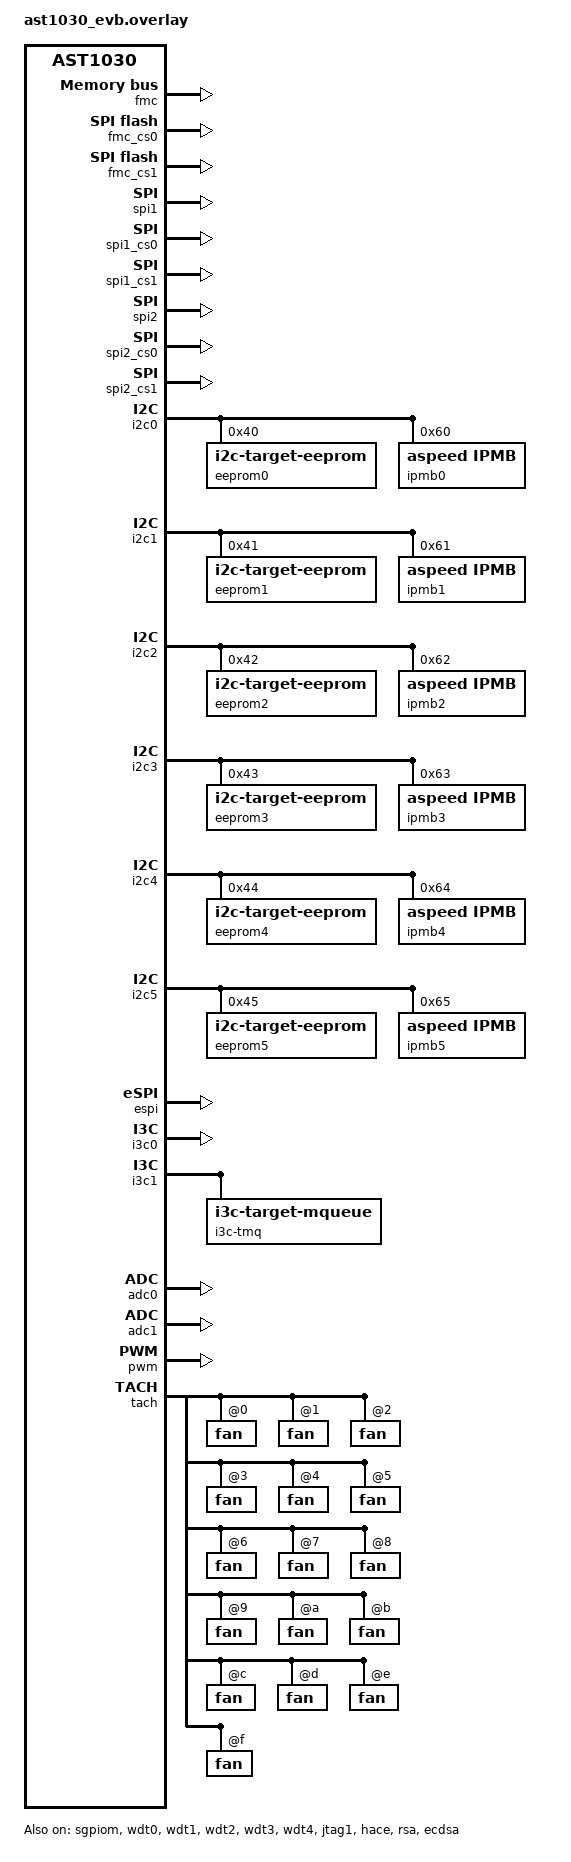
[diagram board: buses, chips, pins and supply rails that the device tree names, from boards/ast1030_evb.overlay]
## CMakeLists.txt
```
# SPDX-License-Identifier: Apache-2.0

cmake_minimum_required(VERSION 3.13.1)

find_package(Zephyr HINTS $ENV{ZEPHYR_BASE})
project(ast1030_evb_full_sample)

FILE(GLOB app_sources src/*.c)

target_sources(app PRIVATE ${app_sources})
```

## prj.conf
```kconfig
CONFIG_I2C=y
CONFIG_THREAD_RUNTIME_STATS=y
CONFIG_FLASH=y
CONFIG_FLASH_SHELL=y
CONFIG_HEAP_MEM_POOL_SIZE=16384
CONFIG_HWINFO=y
CONFIG_HWINFO_SHELL=y
CONFIG_COMMON_LIBC_MALLOC_ARENA_SIZE=16384
CONFIG_POSIX_CLOCK=y
CONFIG_STACK_SENTINEL=y
CONFIG_LOG=y
CONFIG_SHELL=y
CONFIG_SHELL_BACKEND_SERIAL_INIT_PRIORITY=99
CONFIG_SHELL_STACK_SIZE=4096
CONFIG_USB_DEVICE_STACK=y
CONFIG_USB_DEVICE_VID=0x2245
CONFIG_USB_DEVICE_PID=0x1030
CONFIG_USB_DEVICE_DFU_PID=0x1031
CONFIG_USB_COMPOSITE_DEVICE=y
CONFIG_USB_DEVICE_PRODUCT="Zephyr DFU sample"
CONFIG_USB_DFU_CLASS=y
CONFIG_FLASH=y
CONFIG_FLASH_MAP=y
CONFIG_STREAM_FLASH=y
CONFIG_IMG_MANAGER=y
CONFIG_FLASH_PAGE_LAYOUT=y
CONFIG_IMG_BLOCK_BUF_SIZE=4096
CONFIG_USB_REQUEST_BUFFER_SIZE=4096
CONFIG_USB_DFU_DEFAULT_POLLTIMEOUT=40
CONFIG_I3C=y
CONFIG_I3C_TARGET=y
CONFIG_I3C_IBI_WORKQUEUE=y
CONFIG_CRYPTO_SHELL=y
CONFIG_HASH_SHELL=y
CONFIG_RSA_SHELL=y
CONFIG_ESPI=y
CONFIG_ESPI_ASPEED=y
```

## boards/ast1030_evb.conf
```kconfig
CONFIG_SPI=y
CONFIG_WATCHDOG=y
CONFIG_DYNAMIC_INTERRUPTS=y
CONFIG_FLASH=y
CONFIG_ADC=y
CONFIG_ADC_ASPEED=y
CONFIG_PWM=y
CONFIG_PWM_ASPEED=y
CONFIG_SENSOR=y
CONFIG_TACH_ASPEED=y
CONFIG_GPIO_ASPEED_SGPIOM=y
CONFIG_JTAG=y
CONFIG_JTAG_ASPEED=y
CONFIG_JTAG_SHELL=y
CONFIG_PECI=y
CONFIG_PECI_ASPEED=y
# CONFIG_SPI_NOR is not set
CONFIG_I2C=y
CONFIG_I2C_ASPEED=y
CONFIG_ABR_FLOW_CTRL_ASPEED=y
CONFIG_SPI_ASPEED=y
CONFIG_REBOOT=y
CONFIG_OTP_ASPEED=y
CONFIG_SHELL_CMDS_OTP=y
```

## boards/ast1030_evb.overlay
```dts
&fmc {
	status = "okay";
};

&fmc_cs0 {
	status = "okay";
	spi-max-buswidth = <4>;
	spi-max-frequency = <50000000>;

	partitions {
		compatible = "fixed-partitions";
		#address-cells = <1>;
		#size-cells = <1>;
		slot0_partition: partition@0 {
			label = "image-0";
			reg = <0x0 0x100000>;
		};
		slot1_partition: partition@1 {
		       label = "image-1";
		       reg = <0x0 0x100000>;
	       };
	};
};

&fmc_cs1 {
	status = "okay";
	spi-max-buswidth = <4>;
	spi-max-frequency = <50000000>;
};

&spi1 {
	status = "okay";
};

&spi1_cs0 {
	status = "okay";
	spi-max-buswidth = <4>;
	spi-max-frequency = <50000000>;
};

&spi1_cs1 {
	status = "okay";
	spi-max-buswidth = <4>;
	spi-max-frequency = <50000000>;
};

&spi2 {
	status = "okay";
};

&spi2_cs0 {
	status = "okay";
	spi-max-buswidth = <4>;
	spi-max-frequency = <50000000>;
};

&spi2_cs1 {
	status = "okay";
	spi-max-buswidth = <4>;
	spi-max-frequency = <50000000>;
};

&i2c0 {
	status = "okay";

	eeprom0: eeprom@40 {
		compatible = "zephyr,i2c-target-eeprom";
		reg = <0x40>;
		size = <256>;
	};

	ipmb0: ipmb@60 {
		compatible = "aspeed,ipmb";
		reg = <0x60>;
		size = <5>;
	};
};

&i2c1 {
	status = "okay";

	eeprom1: eeprom@41 {
		compatible = "zephyr,i2c-target-eeprom";
		reg = <0x41>;
		size = <256>;
	};

	ipmb1: ipmb@61 {
		compatible = "aspeed,ipmb";
		reg = <0x61>;
		size = <5>;
	};
};

&i2c2 {
	status = "okay";

	eeprom2: eeprom@42 {
		compatible = "zephyr,i2c-target-eeprom";
		reg = <0x42>;
		size = <256>;
	};

	ipmb2: ipmb@62 {
		compatible = "aspeed,ipmb";
		reg = <0x62>;
		size = <5>;
	};
};

&i2c3 {
	status = "okay";

	eeprom3: eeprom@43 {
		compatible = "zephyr,i2c-target-eeprom";
		reg = <0x43>;
		size = <256>;
	};

	ipmb3: ipmb@63 {
		compatible = "aspeed,ipmb";
		reg = <0x63>;
		size = <5>;
	};
};

&i2c4 {
	status = "okay";

	eeprom4: eeprom@44 {
		compatible = "zephyr,i2c-target-eeprom";
		reg = <0x44>;
		size = <256>;
	};

	ipmb4: ipmb@64 {
		compatible = "aspeed,ipmb";
		reg = <0x64>;
		size = <5>;
	};
};

&i2c5 {
	status = "okay";

	eeprom5: eeprom@45 {
		compatible = "zephyr,i2c-target-eeprom";
		reg = <0x45>;
		size = <256>;
	};

	ipmb5: ipmb@65 {
		compatible = "aspeed,ipmb";
		reg = <0x65>;
		size = <5>;
	};
};

&espi {
	status = "okay";
	perif,memcyc-enable;
	perif,memcyc-src-addr = <0x98000000>;
	perif,memcyc-size = <0x10000>;
	flash,safs-mode = <0x2>;
};

&sgpiom {
	status = "okay";
	sgpiom_a_d {
		status = "okay";
	};
	sgpiom_e_h {
		status = "okay";
	};
	sgpiom_i_l {
		status = "okay";
	};
	sgpiom_m_p {
		status = "okay";
	};
};

&wdt0 {
	status = "okay";
};

&wdt1 {
	status = "okay";
};

&wdt2 {
	status = "okay";
};

&wdt3 {
	status = "okay";
};

&wdt4 {
	status = "okay";
};

&jtag1 {
	status = "okay";
};

/*
 * i3c0-to-i3c1 Loopback:
 * i3c0 plays the role as the bus controller
 * i3c1 plays the rols as the target device
 *
 * In I3C shell command, the following devices will be found:
 * i3c@7e7a2000 -> i3c0 controller
 * i3cdev@7ec80011000 -> the i3c device attached to i3c0 controller
 *
 * i3c@7e7a2000 -> i3c1 controller
 * i3c-tmq@7ec80011000 -> i3c target mqueue device
 */
&i3c0 {
	status = "okay";
	sda-tx-hold-ns = <20>;
	i3c-pp-scl-hi-period-ns = <250>;
	i3c-pp-scl-lo-period-ns = <250>;

	i3cdev@7ec80011000 {
		compatible = "i3c-dummy-device";
		reg = <0x0 0x7ec 0x80011000>;
		status = "okay";
	};
};

&i3c1 {
	secondary;
	dcr = <0xcc>;
	status = "okay";

	i3c-tmq@7ec80011000 {
		compatible = "i3c-target-mqueue";
		reg = <0x0 0x7ec 0x80011000>;
		msg-size = <128>;
		num-of-msgs = <4>;
		mandatory-data-byte = <0xbf>;
		status = "okay";
	};
};

&adc0 {
	status = "okay";

	pinctrl-names = "default";
	pinctrl-0 = <pinctrl_adc0_default pinctrl_adc1_default
		pinctrl_adc2_default pinctrl_adc3_default
		pinctrl_adc4_default pinctrl_adc5_default
		pinctrl_adc6_default pinctrl_adc7_default>;
};

&adc1 {
	status = "okay";

	pinctrl-names = "default";
	pinctrl-0 = <pinctrl_adc8_default pinctrl_adc9_default
		pinctrl_adc10_default pinctrl_adc11_default
		pinctrl_adc12_default pinctrl_adc13_default
		pinctrl_adc14_default pinctrl_adc15_default>;
};

&pwm {
	status = "okay";

	pinctrl-names = "default";
	pinctrl-0 = <pinctrl_pwm0_default pinctrl_pwm1_default
			pinctrl_pwm2_default pinctrl_pwm3_default
			pinctrl_pwm4_default pinctrl_pwm5_default
			pinctrl_pwm6_default pinctrl_pwm7_default
			pinctrl_pwm8_default pinctrl_pwm9_default
			pinctrl_pwm10_default pinctrl_pwm11_default
			pinctrl_pwm12_default pinctrl_pwm13_default
			pinctrl_pwm14_default pinctrl_pwm15_default>;

};

&tach {
	status = "okay";

	pinctrl-names = "default";
	pinctrl-0 = <pinctrl_tach0_default pinctrl_tach1_default
			pinctrl_tach2_default pinctrl_tach3_default
			pinctrl_tach4_default pinctrl_tach5_default
			pinctrl_tach6_default pinctrl_tach7_default
			pinctrl_tach8_default pinctrl_tach9_default
			pinctrl_tach10_default pinctrl_tach11_default
			pinctrl_tach12_default pinctrl_tach13_default
			pinctrl_tach14_default pinctrl_tach15_default>;
	fan@0 {
		reg = <0>;
		pulse-pr = <2>;
		min-rpm = <1000>;
		tach-div = <5>;
	};

	fan@1 {
		reg = <1>;
		pulse-pr = <2>;
		min-rpm = <1000>;
		tach-div = <5>;
	};

	fan@2 {
		reg = <2>;
		pulse-pr = <2>;
		min-rpm = <1000>;
		tach-div = <5>;
	};

	fan@3 {
		reg = <3>;
		pulse-pr = <2>;
		min-rpm = <1000>;
		tach-div = <5>;
	};

	fan@4 {
		reg = <4>;
		pulse-pr = <2>;
		min-rpm = <1000>;
		tach-div = <5>;
	};

	fan@5 {
		reg = <5>;
		pulse-pr = <2>;
		min-rpm = <1000>;
		tach-div = <5>;
	};

	fan@6 {
		reg = <6>;
		pulse-pr = <2>;
		min-rpm = <1000>;
		tach-div = <5>;
	};

	fan@7 {
		reg = <7>;
		pulse-pr = <2>;
		min-rpm = <1000>;
		tach-div = <5>;
	};

	fan@8 {
		reg = <8>;
		pulse-pr = <2>;
		min-rpm = <1000>;
		tach-div = <5>;
	};

	fan@9 {
		reg = <9>;
		pulse-pr = <2>;
		min-rpm = <1000>;
		tach-div = <5>;
	};

	fan@a {
		reg = <0xa>;
		pulse-pr = <2>;
		min-rpm = <1000>;
		tach-div = <5>;
	};

	fan@b {
		reg = <0xb>;
		pulse-pr = <2>;
		min-rpm = <1000>;
		tach-div = <5>;
	};

	fan@c {
		reg = <0xc>;
		pulse-pr = <2>;
		min-rpm = <1000>;
		tach-div = <5>;
	};

	fan@d {
		reg = <0xd>;
		pulse-pr = <2>;
		min-rpm = <1000>;
		tach-div = <5>;
	};

	fan@e {
		reg = <0xe>;
		pulse-pr = <2>;
		min-rpm = <1000>;
		tach-div = <5>;
	};

	fan@f {
		reg = <0xf>;
		pulse-pr = <2>;
		min-rpm = <1000>;
		tach-div = <5>;
	};
};

&hace {
	status = "okay";
};

&rsa {
	status = "okay";
};

&ecdsa {
	status = "okay";
};
```

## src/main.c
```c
/*
 * Copyright 2021 ASPEED
 *
 * SPDX-License-Identifier: Apache-2.0
 */

#include <zephyr/sys/printk.h>
#include <soc.h>
#include <zephyr/drivers/misc/aspeed/abr_aspeed.h>

int main(void)
{
	printk("%s demo\n", CONFIG_BOARD);
	aspeed_print_sysrst_info();
	aspeed_soc_show_chip_id();
	disable_abr_wdt();

	return 0;
}
```

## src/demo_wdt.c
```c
/*
 * Copyright (c) 2021 - 2023 ASPEED Technology Inc.
 *
 * SPDX-License-Identifier: Apache-2.0
 */

#include <zephyr/kernel.h>
#include <zephyr/sys/printk.h>
#include <soc.h>
#include <zephyr/drivers/watchdog.h>

void wdt_demo_background_thread(void)
{
	int ret = 0;
	const struct device *wdt2_dev = NULL;
	struct wdt_timeout_cfg wdt_config;

	wdt2_dev = device_get_binding("wdt@2");
	if (!wdt2_dev) {
		printk("demo_err: cannot find wdt2 device.\n");
		return;
	}

	wdt_config.window.min = 0U;
	wdt_config.window.max = 20000; /* 20s */
	wdt_config.callback = NULL;
	ret = wdt_install_timeout(wdt2_dev, &wdt_config);
	if (ret != 0) {
		printk("demo_err: fail to install wdt2 timeout.\n");
		return;
	}

	ret = wdt_setup(wdt2_dev, WDT_FLAG_RESET_CPU_CORE);
	if (ret != 0) {
		printk("demo_err: fail to setup wdt2.\n");
		return;
	}

	while (1) {
		wdt_feed(wdt2_dev, 0);
		k_sleep(K_MSEC(3000));
	}
}

K_THREAD_DEFINE(wdt_background, 1024, wdt_demo_background_thread,
	NULL, NULL, NULL, -1, 0, 1000);
```

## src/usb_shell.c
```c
/*
 * Copyright (c) 2021 Aspeed Technology Inc.
 *
 * SPDX-License-Identifier: Apache-2.0
 */

#include <stdlib.h>

#include <zephyr/device.h>
#include <zephyr/kernel.h>
#include <zephyr/drivers/uart.h>
#include <zephyr/shell/shell.h>
#include <zephyr/usb/usb_device.h>

#define SHELL_HELP_USB_ENABLE	"Enable USB as DFU"
#define SHELL_HELP_USB_CLEAR	"Clear USB env"
#define SHELL_HELP_USB_PRINT	"Print USB data"
#define SHELL_HELP_USB_WAIT	"Set/Clear wait during USB transfer"
#define SHELL_HELP_USB_SEND	"Send a string to the host over CDC-ACM"
#define SHELL_HELP_USB_ECHO	"Echo received data back to the host"
#define SHELL_HELP_SHELL	"Useful, not Unix-like shell commands."

#define RX_BUFF_SIZE		64
#define RING_BUF_SIZE		256

RING_BUF_DECLARE(ringbuf, RING_BUF_SIZE);
RING_BUF_DECLARE(txringbuf, RING_BUF_SIZE);

int total_len;
int transfer_wait;
int data_print;
int data_echo;

static bool usb_ready;

static void data_handle(const struct device *dev)
{
	uint8_t buff[RX_BUFF_SIZE];
	int total = 0;
	int rb_len;
	int put;
	int i;

	while (!ring_buf_is_empty(&ringbuf)) {
		rb_len = ring_buf_get(&ringbuf, buff, sizeof(buff));
		if (data_print) {
			printk("Print Data: ");
			for (i = 0; i < rb_len; i++)
				printk("0x%x ", buff[i]);
			printk("\n");
		}

		if (data_echo) {
			put = ring_buf_put(&txringbuf, buff, rb_len);

			if (put < rb_len) {
				printk("Echo drop %d bytes\n", rb_len - put);
			}

			uart_irq_tx_enable(dev);
		}

		total += rb_len;
	}
}

static void interrupt_handler(const struct device *dev, void *user_data)
{
	uint8_t rx_buff[RX_BUFF_SIZE];
	uint8_t tx_buff[RX_BUFF_SIZE];
	int recv_len, rb_len;

	ARG_UNUSED(user_data);

	while (uart_irq_update(dev) && uart_irq_is_pending(dev)) {
		if (uart_irq_rx_ready(dev)) {
			recv_len = uart_fifo_read(dev, rx_buff, sizeof(rx_buff));

			total_len += recv_len;

			if (!recv_len) {
				break;
			}

			rb_len = ring_buf_put(&ringbuf, rx_buff, recv_len);
			if (rb_len < recv_len) {
				printk("Drop %u bytes\n", recv_len - rb_len);
			}

			data_handle(dev);

			printk("total transfer len: 0x%x\n", total_len);

			if (transfer_wait) {
				printk("wait 1 sec...\n");
				k_busy_wait(USEC_PER_SEC);
			}
		}

		if (uart_irq_tx_ready(dev)) {
			rb_len = ring_buf_get(&txringbuf, tx_buff, sizeof(tx_buff));
			if (!rb_len) {
				uart_irq_tx_disable(dev);
				continue;
			}

			uart_fifo_fill(dev, tx_buff, rb_len);
		}
	}
}

static int cmd_usb_enable(const struct shell *shell, size_t argc, char **argv)
{
	const struct device *dev;
	int ret;

	shell_print(shell, "enter %s...\n", __func__);

	ret = usb_enable(NULL);
	if (ret != 0) {
		shell_print(shell, "Failed to enable USB");
		return -1;
	}

	/* Enable  CDC-ACM (composite with DFU) */
	dev = DEVICE_DT_GET_ONE(zephyr_cdc_acm_uart);
	if (dev) {

		uart_irq_callback_set(dev, interrupt_handler);
		/* Enable rx interrupts */
		uart_irq_rx_enable(dev);
		usb_ready = true;
	}
	return 0;
}

static int cmd_usb_clear(const struct shell *shell, size_t argc, char **argv)
{
	total_len = 0;

	return 0;
}

static int cmd_usb_print(const struct shell *shell, size_t argc, char **argv)
{
	data_print = strtol(argv[1], NULL, 10);
	printk("data print: %s\n", data_print ? "true" : "false");

	return 0;
}

static int cmd_usb_wait(const struct shell *shell, size_t argc, char **argv)
{
	transfer_wait = strtol(argv[1], NULL, 10);
	printk("wait: %s\n", transfer_wait ? "true" : "false");

	return 0;
}

static int cmd_usb_send(const struct shell *shell, size_t argc,
			char **argv)
{
	const struct device *dev = DEVICE_DT_GET_ONE(zephyr_cdc_acm_uart);
	size_t i;

	if (!usb_ready) {
		shell_print(shell, "USB is not enabled, run \"usb enable\" "
			    "first");
		return -1;
	}

	for (i = 1; i < argc; i++) {
		const char *p = argv[i];

		if (i > 1) {
			uart_poll_out(dev, ' ');
		}

		while (*p) {
			uart_poll_out(dev, *p++);
		}
	}

	uart_poll_out(dev, '\r');
	uart_poll_out(dev, '\n');

	return 0;
}

static int cmd_usb_echo(const struct shell *shell, size_t argc,
			char **argv)
{
	data_echo = strtol(argv[1], NULL, 10);
	printk("echo: %s\n", data_echo ? "true" : "false");

	return 0;
}

SHELL_STATIC_SUBCMD_SET_CREATE(m_sub_usb,
	SHELL_CMD(enable, NULL, SHELL_HELP_USB_ENABLE, cmd_usb_enable),
	SHELL_CMD(clear, NULL, SHELL_HELP_USB_CLEAR, cmd_usb_clear),
	SHELL_CMD_ARG(print, NULL, SHELL_HELP_USB_PRINT, cmd_usb_print, 2, 0),
	SHELL_CMD_ARG(wait, NULL, SHELL_HELP_USB_WAIT, cmd_usb_wait, 2, 0),
	SHELL_CMD_ARG(send, NULL, SHELL_HELP_USB_SEND, cmd_usb_send, 2, 8),
	SHELL_CMD_ARG(echo, NULL, SHELL_HELP_USB_ECHO, cmd_usb_echo, 2, 0),
	SHELL_SUBCMD_SET_END
);

SHELL_CMD_REGISTER(usb, &m_sub_usb, SHELL_HELP_SHELL, NULL);
```
